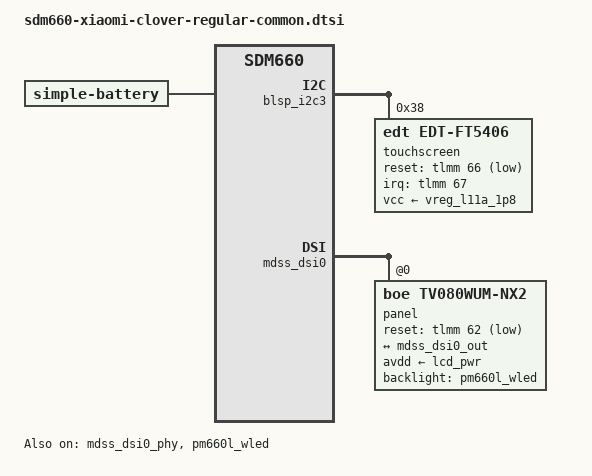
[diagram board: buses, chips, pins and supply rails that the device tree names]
// SPDX-License-Identifier: GPL-2.0-only
/*
 * Copyright (c) 2020, Mark Hargreaves <clashclanacc2602@gmail.com>
 */

/dts-v1/;
#include "sdm660-xiaomi-clover-common.dtsi"

/ {
	battery: battery {
		compatible = "simple-battery";

		device-chemistry = "lithium-ion";

		charge-full-design-microamp-hours = <6010000>;
		voltage-min-design-microvolt = <3400000>;
		voltage-max-design-microvolt = <4400000>;
	};
};

&blsp_i2c3 {
	status = "okay";

	touchscreen@38 {
		compatible = "edt,edt-ft5406";
		reg = <0x38>;

		vcc-supply = <&vreg_l11a_1p8>;

		pinctrl-0 = <&ts_int_active &ts_rst>;
		pinctrl-names = "default";
		interrupts-extended = <&tlmm 67 IRQ_TYPE_EDGE_FALLING>;
		reset-gpios = <&tlmm 66 GPIO_ACTIVE_LOW>;

		touchscreen-size-x = <1200>;
		touchscreen-size-y = <1920>;
	};
};

&mdss_dsi0 {
	#address-cells = <1>;
	#size-cells = <0>;
	vdd-supply = <&vreg_l1b_0p925>;
	vdda-supply = <&vreg_l1a_1p225>;

	status = "okay";

	panel: panel@0 {
		compatible = "boe,tv080wum-nx2", "novatek,nt51021";
		reg = <0>;

		backlight = <&pm660l_wled>;

		avdd-supply = <&lcd_pwr>;
		reset-gpios = <&tlmm 62 GPIO_ACTIVE_LOW>;

		pinctrl-names = "default";
		pinctrl-0 = <&mdss_dsi_reset &mdss_vsync_active>;

		port {
			panel_in: endpoint {
				remote-endpoint = <&mdss_dsi0_out>;
			};
		};
	};
};

&mdss_dsi0_out {
	data-lanes = <0 1 2 3>;
	remote-endpoint = <&panel_in>;
};

&mdss_dsi0_phy {
	vcca-supply = <&vreg_l1b_0p925>;

	status = "okay";
};

&pm660l_wled {
	qcom,switching-freq = <800>;
	qcom,current-limit-microamp = <20000>;
	qcom,num-strings = <3>;
	qcom,cabc;

	status = "okay";
};

&tlmm {
	ts_int_active: ts-int-active-state {
		pins = "gpio67";
		function = "gpio";
		drive-strength = <8>;
		bias-pull-up;
	};

	ts_rst: ts-rst-state {
		pins = "gpio66";
		function = "gpio";
		drive-strength = <8>;
		bias-pull-up;
	};
};
